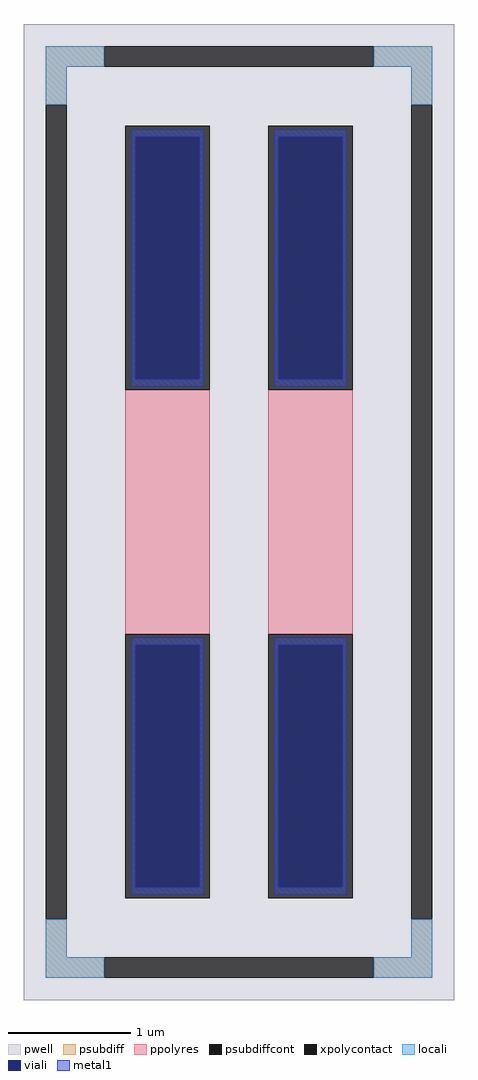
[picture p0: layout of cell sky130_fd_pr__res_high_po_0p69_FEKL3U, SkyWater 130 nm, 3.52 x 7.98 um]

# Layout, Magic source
magic
tech sky130A
magscale 1 2
<< pwell >>
rect -352 -798 352 798
<< psubdiff >>
rect -316 728 -220 762
rect 220 728 316 762
rect -316 666 -282 728
rect 282 666 316 728
rect -316 -728 -282 -666
rect 282 -728 316 -666
rect -316 -762 -220 -728
rect 220 -762 316 -728
<< psubdiffcont >>
rect -220 728 220 762
rect -316 -666 -282 666
rect 282 -666 316 666
rect -220 -762 220 -728
<< xpolycontact >>
rect -186 200 -48 632
rect -186 -632 -48 -200
rect 48 200 186 632
rect 48 -632 186 -200
<< ppolyres >>
rect -186 -200 -48 200
rect 48 -200 186 200
<< locali >>
rect -316 728 -220 762
rect 220 728 316 762
rect -316 666 -282 728
rect 282 666 316 728
rect -316 -728 -282 -666
rect 282 -728 316 -666
rect -316 -762 -220 -728
rect 220 -762 316 -728
<< viali >>
rect -170 217 -64 614
rect 64 217 170 614
rect -170 -614 -64 -217
rect 64 -614 170 -217
<< metal1 >>
rect -176 614 -58 626
rect -176 217 -170 614
rect -64 217 -58 614
rect -176 205 -58 217
rect 58 614 176 626
rect 58 217 64 614
rect 170 217 176 614
rect 58 205 176 217
rect -176 -217 -58 -205
rect -176 -614 -170 -217
rect -64 -614 -58 -217
rect -176 -626 -58 -614
rect 58 -217 176 -205
rect 58 -614 64 -217
rect 170 -614 176 -217
rect 58 -626 176 -614
<< properties >>
string FIXED_BBOX -299 -745 299 745
string gencell sky130_fd_pr__res_high_po_0p69
string library sky130
string parameters w 0.69 l 2 m 1 nx 2 wmin 0.690 lmin 0.50 rho 319.8 val 1.491k dummy 0 dw 0.0 term 194.82 sterm 0.0 caplen 0 guard 1 glc 1 grc 1 gtc 1 gbc 1 compatible {sky130_fd_pr__res_high_po_0p35  sky130_fd_pr__res_high_po_0p69 sky130_fd_pr__res_high_po_1p41  sky130_fd_pr__res_high_po_2p85 sky130_fd_pr__res_high_po_5p73} snake 0 full_metal 1 wmax 0.690 n_guard 0 hv_guard 0 vias 1 viagb 0 viagt 0 viagl 0 viagr 0
<< end >>
